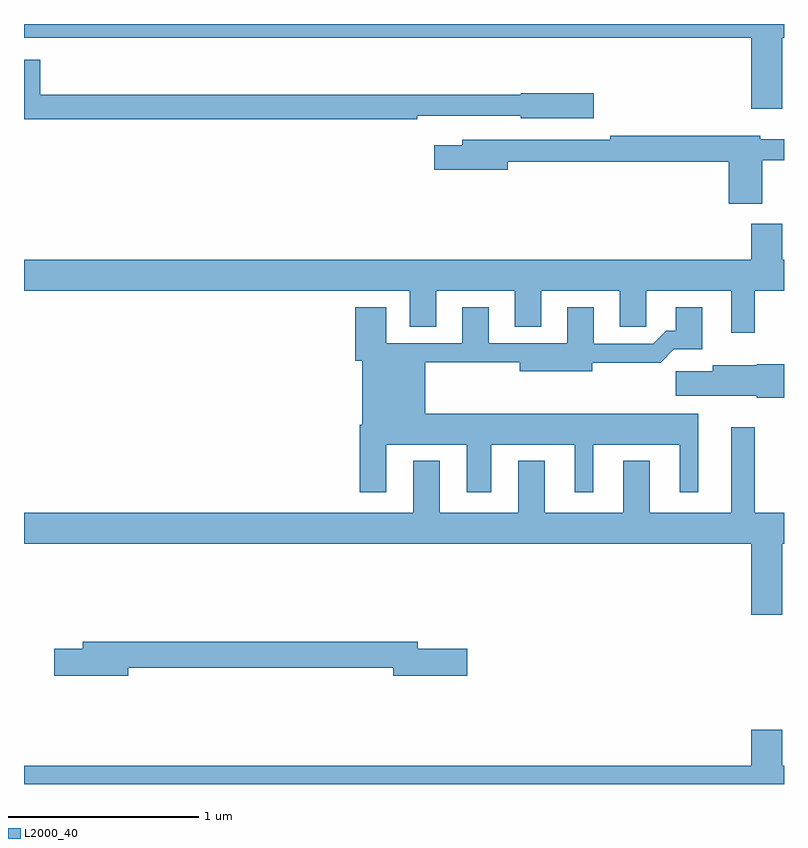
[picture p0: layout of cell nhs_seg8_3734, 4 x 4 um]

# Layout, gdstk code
import gdstk
lib = gdstk.Library(unit=1e-6, precision=1e-09)
def P(c, l, *ps):  # polygons
    for p in ps: c.add(gdstk.Polygon(p, *l))
L2000_40 = (2000, 40)

nhs_seg8_3734 = lib.new_cell('nhs_seg8_3734')
P(nhs_seg8_3734, L2000_40, [(344.992,1121.828),(345,1121.828),(345,1121.9),(341,1121.9),(341,1121.828),(344.828,1121.828),(344.828,1121.454),(344.992,1121.454)],
  [(343.07,1121.418),(343.614,1121.418),(343.614,1121.405),(343.999,1121.405),(343.999,1121.535),(343.614,1121.535),(343.614,1121.527),(341.086,1121.527),(341.086,1121.713),(341,1121.713),(341,1121.398),(343.07,1121.398)],
  [(344.886,1121.184),(345,1121.184),(345,1121.293),(344.874,1121.293),(344.874,1121.312),(344.086,1121.312),(344.086,1121.292),(343.307,1121.292),(343.307,1121.263),(343.158,1121.263),(343.158,1121.134),(343.546,1121.134),(343.546,1121.176),(344.708,1121.176),(344.708,1120.953),(344.886,1120.953)],
  [(344.845,1120.496),(345,1120.496),(345,1120.66),(344.992,1120.66),(344.992,1120.849),(344.828,1120.849),(344.828,1120.66),(341,1120.66),(341,1120.496),(343.031,1120.496),(343.031,1120.306),(343.171,1120.306),(343.171,1120.496),(343.583,1120.496),(343.583,1120.306),(343.723,1120.306),(343.723,1120.496),(344.135,1120.496),(344.135,1120.306),(344.274,1120.306),(344.274,1120.496),(344.723,1120.496),(344.723,1120.275),(344.845,1120.275)],
  [(342.907,1119.686),(343.331,1119.686),(343.331,1119.435),(343.459,1119.435),(343.459,1119.686),(343.898,1119.686),(343.898,1119.435),(343.996,1119.435),(343.996,1119.686),(344.45,1119.686),(344.45,1119.435),(344.548,1119.435),(344.548,1119.85),(343.111,1119.85),(343.111,1120.12),(343.61,1120.12),(343.61,1120.073),(343.99,1120.073),(343.99,1120.118),(344.351,1120.118),(344.42,1120.187),(344.569,1120.187),(344.569,1120.408),(344.429,1120.408),(344.429,1120.285),(344.38,1120.285),(344.313,1120.218),(343.999,1120.218),(343.999,1120.408),(343.859,1120.408),(343.859,1120.221),(343.447,1120.221),(343.447,1120.408),(343.307,1120.408),(343.307,1120.221),(342.907,1120.221),(342.907,1120.408),(342.743,1120.408),(342.743,1120.128),(342.779,1120.128),(342.779,1119.79),(342.767,1119.79),(342.767,1119.435),(342.907,1119.435)],
  [(345,1120.11),(344.856,1120.11),(344.856,1120.105),(344.624,1120.105),(344.624,1120.073),(344.43,1120.073),(344.43,1119.944),(344.856,1119.944),(344.856,1119.932),(345,1119.932)],
  [(344.992,1119.164),(345,1119.164),(345,1119.328),(344.845,1119.328),(344.845,1119.778),(344.723,1119.778),(344.723,1119.328),(344.293,1119.328),(344.293,1119.601),(344.153,1119.601),(344.153,1119.328),(343.741,1119.328),(343.741,1119.601),(343.601,1119.601),(343.601,1119.328),(343.189,1119.328),(343.189,1119.601),(343.049,1119.601),(343.049,1119.328),(341,1119.328),(341,1119.164),(344.828,1119.164),(344.828,1118.79),(344.992,1118.79)],
  [(341.548,1118.512),(342.944,1118.512),(342.944,1118.47),(343.333,1118.47),(343.333,1118.612),(343.072,1118.612),(343.072,1118.648),(341.309,1118.648),(341.309,1118.612),(341.16,1118.612),(341.16,1118.47),(341.548,1118.47)],
  [(345,1117.996),(344.992,1117.996),(344.992,1118.185),(344.828,1118.185),(344.828,1117.996),(341,1117.996),(341,1117.9),(345,1117.9)])

lib.write_gds('nhs_seg8_3734.gds')
